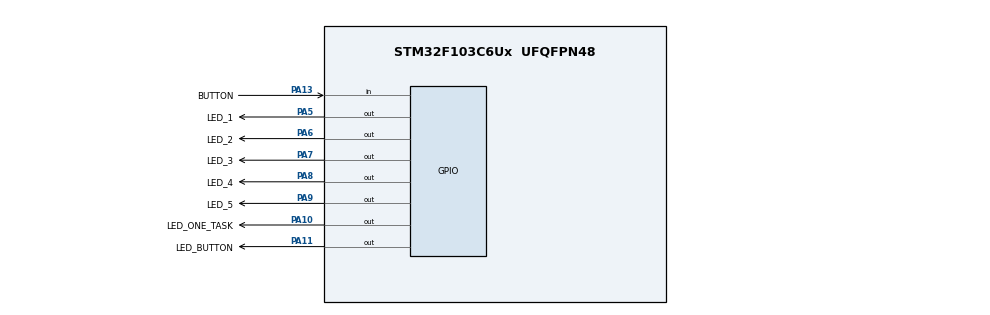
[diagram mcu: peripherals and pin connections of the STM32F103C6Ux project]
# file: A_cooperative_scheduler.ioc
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Mcu.Family=STM32F1
Mcu.Name=STM32F103C6Ux
Mcu.Package=UFQFPN48
NVIC.PriorityGroup=NVIC_PRIORITYGROUP_4
NVIC.TIM2_IRQn=true\:0\:0\:false\:false\:true\:true\:true
PA10.GPIO_Label=LED_ONE_TASK
PA10.Signal=GPIO_Output
PA11.GPIO_Label=LED_BUTTON
PA11.Signal=GPIO_Output
PA13.GPIO_Label=BUTTON
PA13.GPIO_PuPd=GPIO_PULLUP
PA13.Signal=GPIO_Input
PA5.GPIO_Label=LED_1
PA5.Signal=GPIO_Output
PA6.GPIO_Label=LED_2
PA6.Signal=GPIO_Output
PA7.GPIO_Label=LED_3
PA7.Signal=GPIO_Output
PA8.GPIO_Label=LED_4
PA8.Signal=GPIO_Output
PA9.GPIO_Label=LED_5
PA9.Signal=GPIO_Output
ProjectManager.HeapSize=0x200
ProjectManager.StackSize=0x400
ProjectManager.TargetToolchain=STM32CubeIDE
RCC.APB1Freq_Value=8000000
RCC.APB2Freq_Value=8000000
TIM2.Period=9
TIM2.Prescaler=7999
VP_SYS_VS_ND.Mode=No_Debug
VP_TIM2_VS_ClockSourceINT.Mode=Internal
board=custom

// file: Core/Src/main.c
/* USER CODE BEGIN Header */
/**
  ******************************************************************************
  * @file           : main.c
  * @brief          : Main program body
  ******************************************************************************
  * @attention
  *
  * <h2><center>&copy; Copyright (c) 2023 STMicroelectronics.
  * All rights reserved.</center></h2>
  *
  * This software component is licensed by ST under BSD 3-Clause license,
  * the "License"; You may not use this file except in compliance with the
  * License. You may obtain a copy of the License at:
  *                        opensource.org/licenses/BSD-3-Clause
  *
  ******************************************************************************
  */
/* USER CODE END Header */
#include "main.h"

TIM_HandleTypeDef htim2;

void SystemClock_Config(void);
static void MX_TIM2_Init(void);
static void MX_GPIO_Init(void);

/* USER CODE BEGIN 0 */
void toggleLed(GPIO_TypeDef* GPIOx, uint16_t GPIO_Pin)
{
	HAL_GPIO_TogglePin(GPIOx, GPIO_Pin);
}

void led1()
{
	toggleLed(LED_1_GPIO_Port, LED_1_Pin);
}

void led2()
{
	toggleLed(LED_2_GPIO_Port, LED_2_Pin);
}

void led3()
{
	toggleLed(LED_3_GPIO_Port, LED_3_Pin);
}

void led4()
{
	toggleLed(LED_4_GPIO_Port, LED_4_Pin);
}

void led5()
{
	toggleLed(LED_5_GPIO_Port, LED_5_Pin);
}

void ledOneTask()
{
	toggleLed(LED_ONE_TASK_GPIO_Port, LED_ONE_TASK_Pin);
}

void ledButton()
{
	if (isButtonPressed(0))
	{
		toggleLed(LED_BUTTON_GPIO_Port, LED_BUTTON_Pin);
	}
}
/* USER CODE END 0 */

int main(void)
{

  /* MCU Configuration--------------------------------------------------------*/

  /* Reset of all peripherals, Initializes the Flash interface and the Systick. */
  HAL_Init();

  /* Configure the system clock */
  SystemClock_Config();

  /* Initialize all configured peripherals */
  MX_TIM2_Init();
  MX_GPIO_Init();
  /* USER CODE BEGIN 2 */
  HAL_TIM_Base_Start_IT (& htim2);
  SCH_Init();
  /* USER CODE END 2 */

  /* Infinite loop */
  /* USER CODE BEGIN WHILE */

  // Add 5 tasks running periodically
  SCH_Add_Task(led1, 500, 500);
  SCH_Add_Task(led2, 1000, 1000);
  SCH_Add_Task(led3, 1500, 1500);
  SCH_Add_Task(led4, 2000, 2000);
  SCH_Add_Task(led5, 2500, 2500);

  //Add "One-shot" task
  SCH_Add_Task(ledOneTask, 2000, 0);

  //Add "LED be controlled by button" task
  SCH_Add_Task(ledButton, 0, 1000);

  while (1)
  {
    /* USER CODE END WHILE */

    /* USER CODE BEGIN 3 */
	  SCH_Dispatch_Tasks();
  }
  /* USER CODE END 3 */
}

void SystemClock_Config(void)
{
  RCC_OscInitTypeDef RCC_OscInitStruct = {0};
  RCC_ClkInitTypeDef RCC_ClkInitStruct = {0};

  /** Initializes the RCC Oscillators according to the specified parameters
  * in the RCC_OscInitTypeDef structure.
  */
  RCC_OscInitStruct.OscillatorType = RCC_OSCILLATORTYPE_HSI;
  RCC_OscInitStruct.HSIState = RCC_HSI_ON;
  RCC_OscInitStruct.HSICalibrationValue = RCC_HSICALIBRATION_DEFAULT;
  RCC_OscInitStruct.PLL.PLLState = RCC_PLL_NONE;
  if (HAL_RCC_OscConfig(&RCC_OscInitStruct) != HAL_OK)
  {
    Error_Handler();
  }
  /** Initializes the CPU, AHB and APB buses clocks
  */
  RCC_ClkInitStruct.ClockType = RCC_CLOCKTYPE_HCLK|RCC_CLOCKTYPE_SYSCLK
                              |RCC_CLOCKTYPE_PCLK1|RCC_CLOCKTYPE_PCLK2;
  RCC_ClkInitStruct.SYSCLKSource = RCC_SYSCLKSOURCE_HSI;
  RCC_ClkInitStruct.AHBCLKDivider = RCC_SYSCLK_DIV1;
  RCC_ClkInitStruct.APB1CLKDivider = RCC_HCLK_DIV1;
  RCC_ClkInitStruct.APB2CLKDivider = RCC_HCLK_DIV1;

  if (HAL_RCC_ClockConfig(&RCC_ClkInitStruct, FLASH_LATENCY_0) != HAL_OK)
  {
    Error_Handler();
  }
}

static void MX_TIM2_Init(void)
{

  TIM_ClockConfigTypeDef sClockSourceConfig = {0};
  TIM_MasterConfigTypeDef sMasterConfig = {0};

  htim2.Instance = TIM2;
  htim2.Init.Prescaler = 7999;
  htim2.Init.CounterMode = TIM_COUNTERMODE_UP;
  htim2.Init.Period = 9;
  htim2.Init.ClockDivision = TIM_CLOCKDIVISION_DIV1;
  htim2.Init.AutoReloadPreload = TIM_AUTORELOAD_PRELOAD_DISABLE;
  if (HAL_TIM_Base_Init(&htim2) != HAL_OK)
  {
    Error_Handler();
  }
  sClockSourceConfig.ClockSource = TIM_CLOCKSOURCE_INTERNAL;
  if (HAL_TIM_ConfigClockSource(&htim2, &sClockSourceConfig) != HAL_OK)
  {
    Error_Handler();
  }
  sMasterConfig.MasterOutputTrigger = TIM_TRGO_RESET;
  sMasterConfig.MasterSlaveMode = TIM_MASTERSLAVEMODE_DISABLE;
  if (HAL_TIMEx_MasterConfigSynchronization(&htim2, &sMasterConfig) != HAL_OK)
  {
    Error_Handler();
  }
  /* USER CODE BEGIN TIM2_Init 2 */
  TIME_CYCLE = 1/(8e6/(htim2.Init.Prescaler + 1)
 		  	  	  	  /(htim2.Init.Period + 1)) * 1000; // Time cycle
  /* USER CODE END TIM2_Init 2 */

}

static void MX_GPIO_Init(void)
{
  GPIO_InitTypeDef GPIO_InitStruct = {0};

  /* GPIO Ports Clock Enable */
  __HAL_RCC_GPIOA_CLK_ENABLE();

  /*Configure GPIO pin Output Level */
  HAL_GPIO_WritePin(GPIOA, LED_1_Pin|LED_2_Pin|LED_3_Pin|LED_4_Pin
                          |LED_5_Pin|LED_ONE_TASK_Pin|LED_BUTTON_Pin, GPIO_PIN_RESET);

  /*Configure GPIO pins : LED_1_Pin LED_2_Pin LED_3_Pin LED_4_Pin
                           LED_5_Pin LED_ONE_TASK_Pin LED_BUTTON_Pin */
  GPIO_InitStruct.Pin = LED_1_Pin|LED_2_Pin|LED_3_Pin|LED_4_Pin
                          |LED_5_Pin|LED_ONE_TASK_Pin|LED_BUTTON_Pin;
  GPIO_InitStruct.Mode = GPIO_MODE_OUTPUT_PP;
  GPIO_InitStruct.Pull = GPIO_NOPULL;
  GPIO_InitStruct.Speed = GPIO_SPEED_FREQ_LOW;
  HAL_GPIO_Init(GPIOA, &GPIO_InitStruct);

  /*Configure GPIO pin : BUTTON_Pin */
  GPIO_InitStruct.Pin = BUTTON_Pin;
  GPIO_InitStruct.Mode = GPIO_MODE_INPUT;
  GPIO_InitStruct.Pull = GPIO_PULLUP;
  HAL_GPIO_Init(BUTTON_GPIO_Port, &GPIO_InitStruct);

}

/* USER CODE BEGIN 4 */
void HAL_TIM_PeriodElapsedCallback ( TIM_HandleTypeDef * htim )
{
	SCH_Update();
	getKeyInput();
}
/* USER CODE END 4 */

void Error_Handler(void)
{
  __disable_irq();
  while (1)
  {
  }
}

/************************ (C) COPYRIGHT STMicroelectronics *****END OF FILE****/
